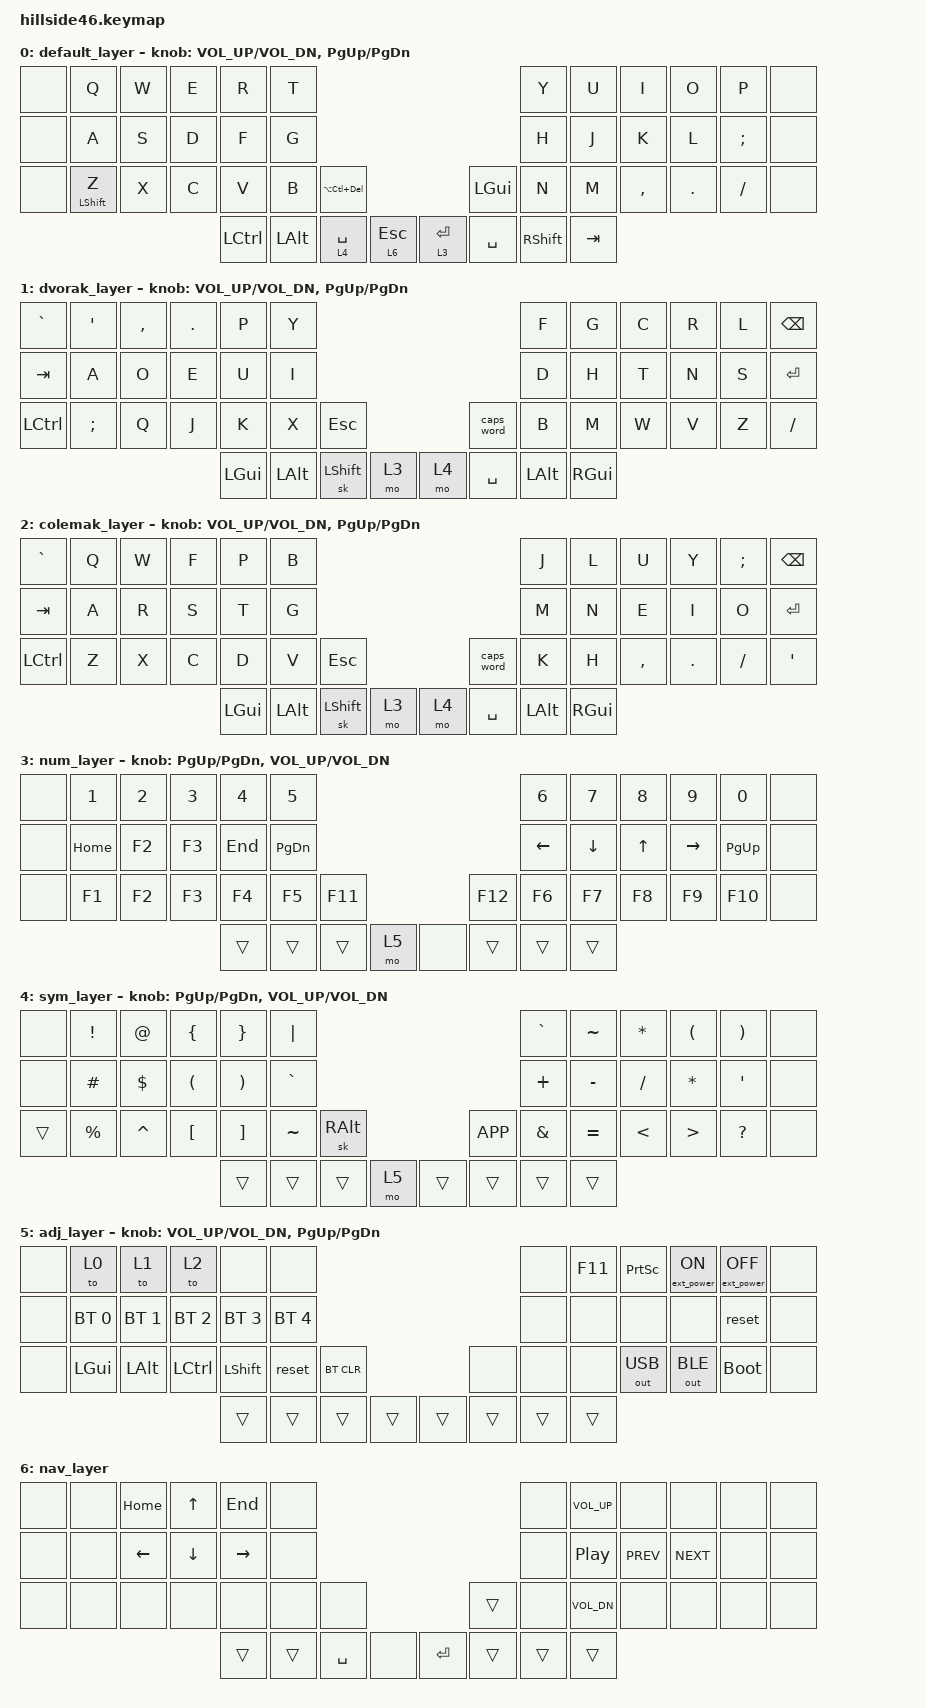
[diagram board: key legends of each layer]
/*
 * Copyright (c) 2021-2022 The ZMK Contributors
 *
 * SPDX-License-Identifier: MIT
 */

#include <behaviors.dtsi>
#include <dt-bindings/zmk/keys.h>
#include <dt-bindings/zmk/ext_power.h>
#include <dt-bindings/zmk/bt.h>
#include <dt-bindings/zmk/outputs.h>

#define QWERTY_L 0
#define DVORAK_L 1
#define COLEMK_L 2
#define NAV_L    3
#define SYM_L    4
#define ADJ_L    5
#define Undo   LC(Z)
#define Cut    LC(X)
#define Copy   LC(C)
#define Paste  LC(V)
#define Redo   LC(Y)

/ {
    combos {
        compatible = "zmk,combos";

        KLDelete {
            bindings = <&kp DEL>;
            key-positions = <20 21>;
        };

        SDBksp {
            bindings = <&kp BACKSPACE>;
            key-positions = <15 14>;
        };
    };

    keymap {
        compatible = "zmk,keymap";

        default_layer {
            /* QWERTY
 * -------------------------------------------------------------------------------------------------------------------------------------
 * | `     |   Q   |   W   |   E   |   R   |   T   |-----------------------------------|   Y   |   U   |   I   |   O   |   P   | BKSPC |
 * | TAB   |   A   |   S   |   D   |   F   |   G   |-----------------------------------|   H   |   J   |   K   |   L   |   ;   | ENTER |
 * | CTRL  |   Z   |   X   |   C   |   V   |   B   |  ESC  |-------------------|  CAPS |   N   |   M   |   ,   |   .   |   /   |   '   |
 *                                 |  GUI  |  ALT  |SK SHFT|  Nav  |---|  Sym  | SPACE |  ALT  |  GUI  |
 */

            bindings = <
&none        &kp Q  &kp W  &kp E      &kp R     &kp T                                                          &kp Y    &kp U      &kp I    &kp O      &kp P  &none
&none        &kp A  &kp S  &kp D      &kp F     &kp G                                                          &kp H    &kp J      &kp K    &kp L   &kp SEMI  &none
&none  &mt LSHFT Z  &kp X  &kp C      &kp V     &kp B  &kp LA(LC(DEL))                           &kp LGUI      &kp N    &kp M  &kp COMMA  &kp DOT  &kp SLASH  &none
                                  &kp LCTRL  &kp LALT      &lt 4 SPACE  &lt 6 ESC  &lt 3 ENTER  &kp SPACE  &kp RSHFT  &kp TAB
            >;

            sensor-bindings = <&inc_dec_kp C_VOL_UP C_VOL_DN &inc_dec_kp PG_UP PG_DN>;
        };

        dvorak_layer {
            /* DVORAK
 * -------------------------------------------------------------------------------------------------------------------------------------
 * | `     |   '   |   ,   |   .   |   P   |   Y   |-----------------------------------|   F   |   G   |   C   |   R   |   L   | BKSPC |
 * | TAB   |   A   |   O   |   E   |   U   |   I   |-----------------------------------|   D   |   H   |   T   |   N   |   S   | ENTER |
 * | CTRL  |   ;   |   Q   |   J   |   K   |   X   |  ESC  |-------------------| CAPS  |   B   |   M   |   W   |   V   |   Z   |   /   |
 *                                 |  GUI  |  ALT  |SK SHFT|  Nav  |---|  Sym  | SPACE |  ALT  |  GUI  |
 */

            bindings = <
&kp GRAVE   &kp SQT  &kp COMMA  &kp DOT     &kp P     &kp Y                                           &kp F     &kp G  &kp C  &kp R  &kp L   &kp BSPC
  &kp TAB     &kp A      &kp O    &kp E     &kp U     &kp I                                           &kp D     &kp H  &kp T  &kp N  &kp S  &kp ENTER
&kp LCTRL  &kp SEMI      &kp Q    &kp J     &kp K     &kp X     &kp ESC                &caps_word     &kp B     &kp M  &kp W  &kp V  &kp Z  &kp SLASH
                                         &kp LGUI  &kp LALT  &sk LSHIFT  &mo 3  &mo 4   &kp SPACE  &kp LALT  &kp RGUI
            >;

            sensor-bindings = <&inc_dec_kp C_VOL_UP C_VOL_DN &inc_dec_kp PG_UP PG_DN>;
        };

        colemak_layer {
            /* COLEMAK-DH
 * -------------------------------------------------------------------------------------------------------------------------------------
 * | `     |   Q   |   W   |   F   |   P   |   B   |-----------------------------------|   J   |   L   |   U   |   Y   |   ;   | BKSPC |
 * | TAB   |   A   |   R   |   S   |   T   |   G   |-----------------------------------|   M   |   N   |   E   |   I   |   O   | ENTER |
 * | CTRL  |   Z   |   X   |   C   |   D   |   V   |  ESC  |-------------------| CAPS  |   K   |   H   |   ,   |   .   |   /   |   '   |
 *                                 |  GUI  |  ALT  |SK SHFT|  Nav  |---|  Sym  | SPACE |  ALT  |  GUI  |
 */

            bindings = <
&kp GRAVE  &kp Q  &kp W  &kp F     &kp P     &kp B                                           &kp J     &kp L      &kp U    &kp Y   &kp SEMI   &kp BSPC
  &kp TAB  &kp A  &kp R  &kp S     &kp T     &kp G                                           &kp M     &kp N      &kp E    &kp I      &kp O  &kp ENTER
&kp LCTRL  &kp Z  &kp X  &kp C     &kp D     &kp V     &kp ESC                &caps_word     &kp K     &kp H  &kp COMMA  &kp DOT  &kp SLASH    &kp SQT
                                &kp LGUI  &kp LALT  &sk LSHIFT  &mo 3  &mo 4   &kp SPACE  &kp LALT  &kp RGUI
            >;

            sensor-bindings = <&inc_dec_kp C_VOL_UP C_VOL_DN &inc_dec_kp PG_UP PG_DN>;
        };

        num_layer {
            /* NAV   
 * -------------------------------------------------------------------------------------------------------------------------------------
 * | Copy  |   1   |   2   |   3   |   4   |   5   |-----------------------------------|   6   |   7   |   8   |   9   |   0   | BSPC  |
 * | Cut   |  GUI  |  Alt  | Ctrl  | Shift | Paste |-----------------------------------| PG UP |  Left |  Up   |  Down | Right | PG DN |
 * | Ctrl  |  F1   |  F2   |  F3   |  F4   |  F5   |  UnDo |-------------------| ReDo  |  F6   |  F7   |  F8   |  F9   |  F10  | Ctrl  |
 *                                 |       |       |       |       |---| ADJ_L |       |       |       |
 */

            bindings = <
&none    &kp N1  &kp N2  &kp N3   &kp N4     &kp N5                                    &kp N6    &kp N7  &kp N8     &kp N9       &kp N0  &none
&none  &kp HOME  &kp F2  &kp F3  &kp END  &kp PG_DN                                  &kp LEFT  &kp DOWN  &kp UP  &kp RIGHT  &kp PAGE_UP  &none
&none    &kp F1  &kp F2  &kp F3   &kp F4     &kp F5  &kp F11                &kp F12    &kp F6    &kp F7  &kp F8     &kp F9      &kp F10  &none
                                  &trans     &trans   &trans  &mo 5  &none   &trans    &trans    &trans
            >;

            sensor-bindings = <&inc_dec_kp PG_UP PG_DN &inc_dec_kp C_VOL_UP C_VOL_DN>;
        };

        sym_layer {
            /* SYM
 * -------------------------------------------------------------------------------------------------------------------------------------
 * | INS   |   !   |   @   |   #   |   $   |   %   |-----------------------------------|   ^   |   &   |   *   |   (   |   )   | BSPC  |
 * |       |   \   |   -   |   =   |   [   |   ]   |-----------------------------------| HOME  | Shift | Ctrl  | Alt   | Gui   | END   |
 * | Ctrl  |   |   |   _   |   +   |   {   |   }   |SkAltGr|-------------------| MENU  | Mute  | Vol-  | Vol+  | Play  |       | Ctrl  |
 *                                 |       |       |       |  ADJ_L |---|      |       |       |       |
 */

            bindings = <
 &none     &kp EXCL      &kp AT  &kp LBRC  &kp RBRC   &kp PIPE                                      &kp GRAVE  &kp TILDE      &kp ASTRK          &kp LPAR          &kp RPAR  &none
 &none     &kp HASH  &kp DOLLAR  &kp LPAR  &kp RPAR  &kp GRAVE                                       &kp PLUS  &kp MINUS       &kp FSLH         &kp ASTRK  &kp SINGLE_QUOTE  &none
&trans  &kp PERCENT   &kp CARET  &kp LBKT  &kp RBKT  &kp TILDE  &sk RALT                 &kp K_APP   &kp AMPS  &kp EQUAL  &kp LESS_THAN  &kp GREATER_THAN      &kp QUESTION  &none
                                             &trans     &trans    &trans  &mo 5  &trans     &trans     &trans     &trans
            >;

            sensor-bindings = <&inc_dec_kp PG_UP PG_DN &inc_dec_kp C_VOL_UP C_VOL_DN>;
        };

        adj_layer {
            /* ADJUST
 * -------------------------------------------------------------------------------------------------------------------------------------
 * |       | QWERTY| DVORAK| COLEMK|       |       |-----------------------------------|       |  F11  |  F12  |Prt Scr|EP_OFF | EP_ON |
 * | RESET | BT 0  | BT 1  | BT 2  | BT 3  | BT 4  |-----------------------------------|       |       |       |       |       | RESET |
 * |       | LGUI  | LALT  | LCTRL | LSHIFT|       |BT CLR |-------------------|       |       |       |OUT_USB|OUT_BLE|       | BOOTL |
 *                                 |       |       |       |       |---|       |       |       |       |
 */

            bindings = <
&none         &to 0         &to 1         &to 2         &none         &none                                       &none  &kp F11     &kp PSCRN  &ext_power EP_ON  &ext_power EP_OFF  &none
&none  &bt BT_SEL 0  &bt BT_SEL 1  &bt BT_SEL 2  &bt BT_SEL 3  &bt BT_SEL 4                                       &none    &none         &none             &none             &reset  &none
&none      &kp LGUI      &kp LALT     &kp LCTRL    &kp LSHIFT        &reset  &bt BT_CLR                   &none   &none    &none  &out OUT_USB      &out OUT_BLE        &bootloader  &none
                                                       &trans        &trans      &trans  &trans  &trans  &trans  &trans   &trans
            >;

            sensor-bindings = <&inc_dec_kp C_VOL_UP C_VOL_DN &inc_dec_kp PG_UP PG_DN>;
        };

        nav_layer {
            bindings = <
&none  &none  &kp HOME    &kp UP    &kp END   &none                                        &none      &kp C_VOL_UP       &none       &none  &none  &none
&none  &none  &kp LEFT  &kp DOWN  &kp RIGHT   &none                                        &none  &kp C_PLAY_PAUSE  &kp C_PREV  &kp C_NEXT  &none  &none
&none  &none     &none     &none      &none   &none      &none                    &trans   &none      &kp C_VOL_DN       &none       &none  &none  &none
                                     &trans  &trans  &kp SPACE  &none  &kp ENTER  &trans  &trans            &trans
            >;
        };
    };
};
